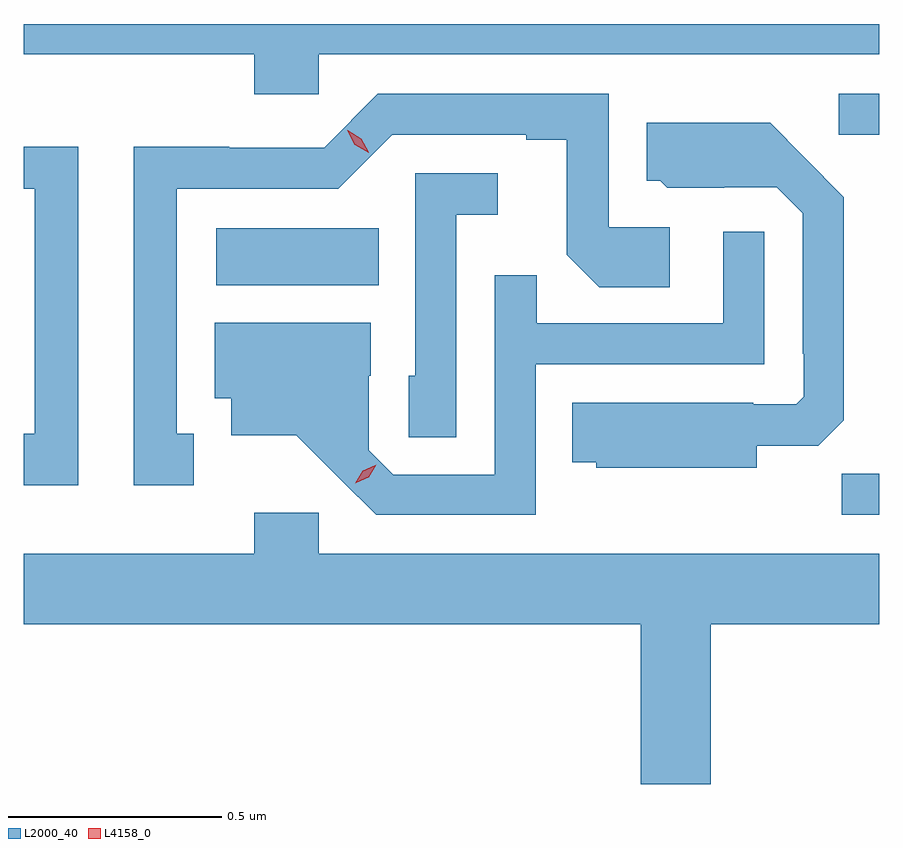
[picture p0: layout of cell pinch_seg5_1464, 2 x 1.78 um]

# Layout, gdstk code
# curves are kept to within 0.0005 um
import gdstk
lib = gdstk.Library(unit=1e-6, precision=1e-09)
def R(c, l, rs):  # rectangles x0, y0, x1, y1
    for r in rs: c.add(gdstk.rectangle(r[:2], r[2:], *l))
def P(c, l, *ps):  # polygons
    for p in ps: c.add(gdstk.Polygon(p, *l))
L2000_40 = (2000, 40)
L4158_0 = (4158, 0)

pinch_seg5_1464 = lib.new_cell('pinch_seg5_1464')
R(pinch_seg5_1464, L2000_40, [(129.514,903.636,129.602,903.731), (128.052,904.172,128.432,904.306), (129.507,904.524,129.602,904.62)])
P(pinch_seg5_1464, L2000_40, [(128.292,904.712),(129.602,904.712),(129.602,904.783),(127.602,904.783),(127.602,904.712),(128.141,904.712),(128.141,904.619),(128.292,904.619)],
  [(127.999,903.825),(127.96,903.825),(127.96,904.398),(128.337,904.398),(128.463,904.524),(128.777,904.524),(128.777,904.512),(128.871,904.512),(128.871,904.244),(128.947,904.168),(129.112,904.168),(129.112,904.308),(128.97,904.308),(128.97,904.62),(128.43,904.62),(128.304,904.494),(128.082,904.494),(128.082,904.496),(127.859,904.496),(127.859,903.705),(127.999,903.705)],
  [(129.316,903.797),(129.46,903.797),(129.519,903.856),(129.519,904.378),(129.347,904.552),(129.059,904.552),(129.059,904.416),(129.09,904.416),(129.106,904.4),(129.24,904.4),(129.24,904.401),(129.363,904.401),(129.423,904.341),(129.423,904.012),(129.426,904.012),(129.426,903.912),(129.408,903.894),(129.308,903.894),(129.308,903.898),(128.884,903.898),(128.884,903.758),(128.94,903.758),(128.94,903.746),(129.316,903.746)],
  [(127.729,904.496),(127.602,904.496),(127.602,904.398),(127.628,904.398),(127.628,903.825),(127.602,903.825),(127.602,903.705),(127.729,903.705)],
  [(128.613,904.337),(128.71,904.337),(128.71,904.434),(128.517,904.434),(128.517,903.96),(128.502,903.96),(128.502,903.817),(128.613,903.817)],
  [(128.799,903.987),(129.333,903.987),(129.333,904.297),(129.237,904.297),(129.237,904.083),(128.801,904.083),(128.801,904.196),(128.703,904.196),(128.703,903.729),(128.466,903.729),(128.409,903.786),(128.409,903.96),(128.413,903.96),(128.413,904.084),(128.048,904.084),(128.048,903.908),(128.087,903.908),(128.087,903.821),(128.239,903.821),(128.426,903.636),(128.799,903.636)],
  [(129.208,903.38),(129.602,903.38),(129.602,903.544),(128.292,903.544),(128.292,903.64),(128.141,903.64),(128.141,903.544),(127.602,903.544),(127.602,903.38),(129.044,903.38),(129.044,903.006),(129.208,903.006)])
P(pinch_seg5_1464, L4158_0, [(128.377,903.709),(128.377,903.709),(128.395,903.738),(128.426,903.753),(128.426,903.753),(128.426,903.752),(128.408,903.723),(128.377,903.709)],
  [(128.408,904.482),(128.376,904.501),(128.358,904.534),(128.358,904.534),(128.359,904.534),(128.391,904.515),(128.408,904.483),(128.408,904.482)])

lib.write_gds('pinch_seg5_1464.gds')
